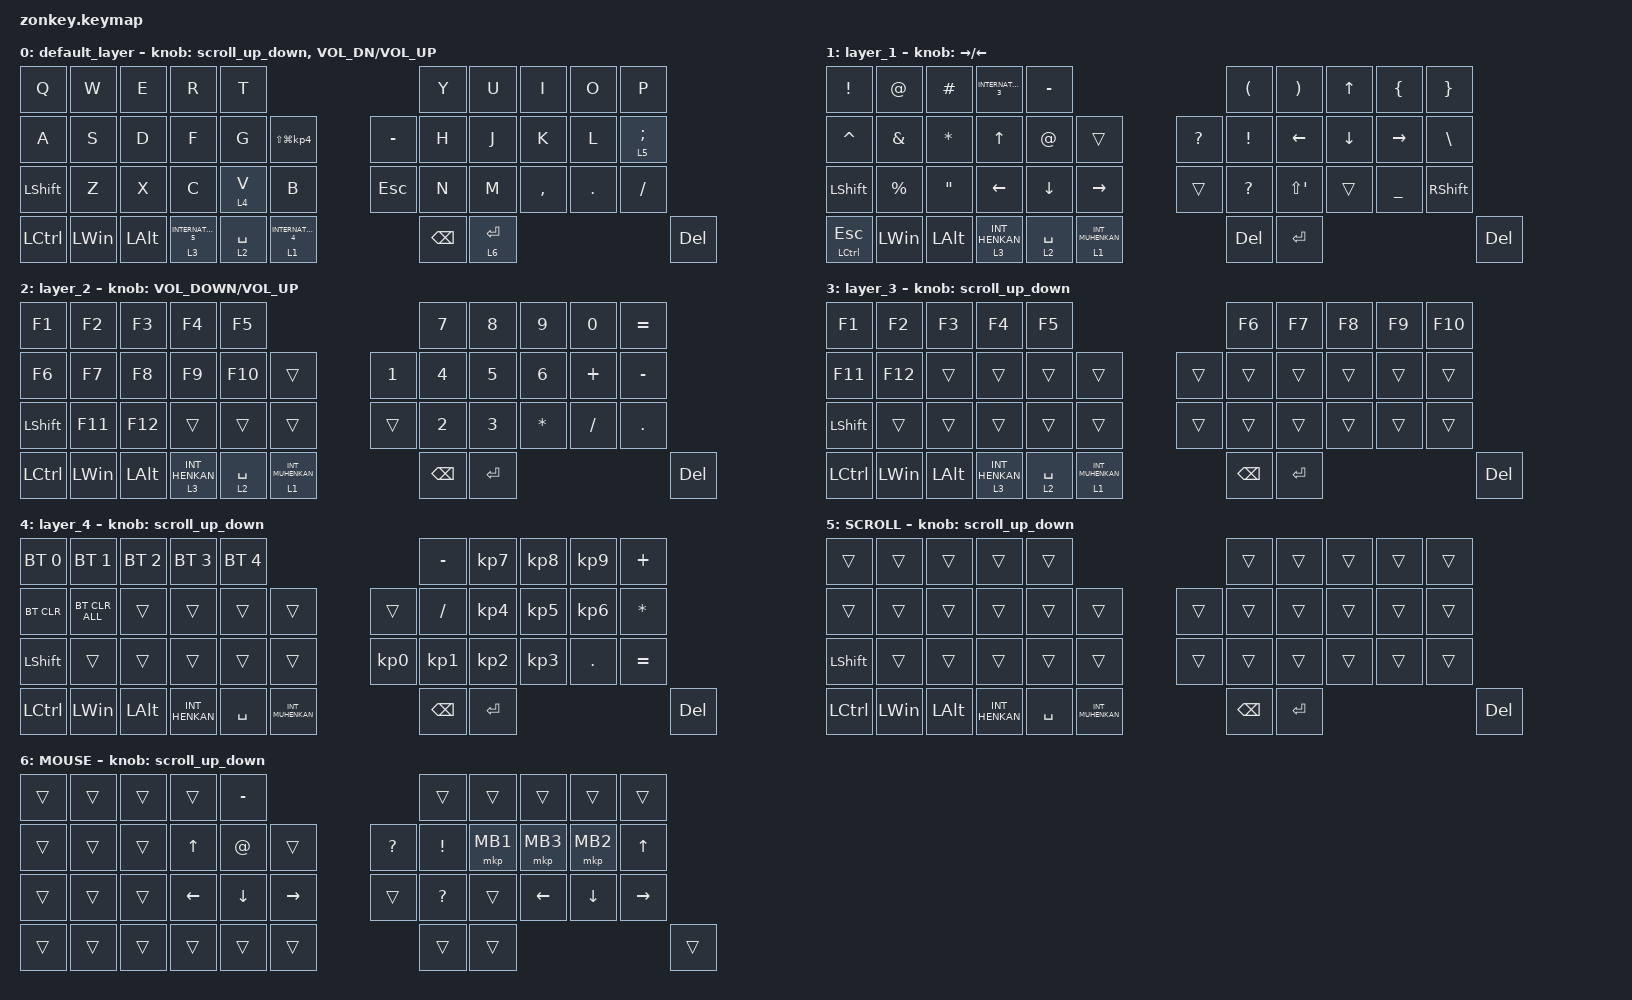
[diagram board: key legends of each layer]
#include <behaviors.dtsi>
#include <dt-bindings/zmk/bt.h>
#include <dt-bindings/zmk/keys.h>
#include <dt-bindings/zmk/pointing.h>

#define ZMK_POINTING_DEFAULT_SCRL_VAL 100
#define MOUSE 6
#define JP_DQUOTE       AT                // "

&mt {
    flavor = "balanced";
    quick-tap-ms = <0>;
};

/ {
    combos { compatible = "zmk,combos"; };

    macros {
        to_layer_0: to_layer_0 {
            compatible = "zmk,behavior-macro-one-param";
            #binding-cells = <1>;
            bindings = <&to 0 &macro_param_1to1 &kp MACRO_PLACEHOLDER>;
            label = "TO_LAYER_0";
        };
    };

    behaviors {
        lt_to_layer_0: lt_to_layer_0 {
            compatible = "zmk,behavior-hold-tap";
            label = "LAYER_TAP_TO_0";
            bindings = <&mo>, <&to_layer_0>;

            #binding-cells = <2>;
            tapping-term-ms = <200>;
        };

        scroll_up_down: behavior_sensor_rotate_mouse_wheel_up_down {
            compatible = "zmk,behavior-sensor-rotate";
            #sensor-binding-cells = <0>;
            bindings = <&msc SCRL_DOWN>, <&msc SCRL_UP>;

            tap-ms = <20>;
        };
    };

    keymap {
        compatible = "zmk,keymap";

        default_layer {
            // -----------------------------------------------------------------------------------------
            // |  Q  |  W  |  E  |  R  |  T  |                        |  Y  |  U   |  I  |  O  |  P  | 
            // |  A  |  S  |  D  |  F  |  G  |LS(LG(S))|        　 | - |  H  |  J   |  K  |  L  |  `  | 
            // |SHIFT|  Z  |  X  |  C  |  V  |  B  |           | ; |  N  |  M   |  ,  |  .  |  /  | 
            // | CTRL | WIN | ALT |HENKAN|SPACE|MUHENKAN|       | BS | ENT |      　　　　       | DEL |           

            bindings = <
&kp Q           &kp W         &kp E         &kp R                  &kp T                                               &kp Y          &kp U        &kp I      &kp O    &kp P
&kp A           &kp S         &kp D         &kp F                  &kp G        &kp LS(LG(KP_NUMBER_4))    &kp MINUS   &kp H          &kp J        &kp K      &kp L    &lt 5 SEMI
&kp LEFT_SHIFT  &kp Z         &kp X         &kp C                  &lt 4 V      &kp B                      &kp ESCAPE  &kp N          &kp M        &kp COMMA  &kp DOT  &kp SLASH
&kp LCTRL       &kp LEFT_WIN  &kp LEFT_ALT  &lt 3 INTERNATIONAL_5  &lt 2 SPACE  &lt 1 INTERNATIONAL_4                  &kp BACKSPACE  &lt 6 ENTER                                  &kp DEL
            >;

            sensor-bindings =
                <&scroll_up_down>,
                <&inc_dec_kp C_VOL_DN C_VOL_UP>;
        };

        layer_1 {
            // -----------------------------------------------------------------------------------------
            // | 半角/全角 |CAPS|     |     |     |                     |     |     |  -  |  ^  |  ¥  |
            // | TAB |     |     |     |     |     |              |    |     |     |     |  @  |  [  |
            // |SHIFT|     |     |     |     |     |            | 英数 | かな |     |     |     |  ]  |
            // | CTRL| WIN | ALT |HENKAN|SPACE|MUHENKAN|         | BS | ENT |                   | DEL |

            bindings = <
&kp EXCL        &kp AT         &kp HASH           &kp INTERNATIONAL_3  &kp MINUS                                           &kp LEFT_PARENTHESIS  &kp RIGHT_PARENTHESIS  &kp UP_ARROW    &kp LEFT_BRACE   &kp RIGHT_BRACE
&kp CARET       &kp AMPERSAND  &kp ASTRK          &kp UP_ARROW         &kp AT          &trans                &kp QUESTION  &kp EXCL              &kp LEFT_ARROW         &kp DOWN_ARROW  &kp RIGHT_ARROW  &kp BACKSLASH
&kp LEFT_SHIFT  &kp PERCENT    &kp DOUBLE_QUOTES  &kp LEFT_ARROW       &kp DOWN_ARROW  &kp RIGHT_ARROW       &trans        &kp QUESTION          &kp LS(SINGLE_QUOTE)   &trans          &kp UNDERSCORE   &kp RIGHT_SHIFT
&mt LCTL ESC    &kp LEFT_WIN   &kp LEFT_ALT       &lt 3 INT_HENKAN     &lt 2 SPACE     &lt 1 INT_MUHENKAN                  &kp DEL               &kp ENTER                                                                &kp DEL
            >;

            sensor-bindings = <&inc_dec_kp RIGHT_ARROW LEFT_ARROW>;
        };

        layer_2 {
            // -----------------------------------------------------------------------------------------
            // |  1  |  2  |  3  |  4  |  5  |                     |  6  |  7  |  8  |  9  |   0  |
            // |      |     |     |     |     |     |           |    |     |     |     |  ↑  |      |
            // |SHIFT|     |     |     |     |     |           |     |     |     |  ←  |  ↓  |  →  |
            // | CTRL| WIN | ALT |HENKAN|SPACE|MUHENKAN|         | BS | ENT |                   | DEL |

            bindings = <
&kp F1          &kp F2        &kp F3        &kp F4            &kp F5                                           &kp NUMBER_7   &kp NUMBER_8  &kp NUMBER_9  &kp NUMBER_0  &kp EQUAL
&kp F6          &kp F7        &kp F8        &kp F9            &kp F10      &trans                &kp NUMBER_1  &kp NUMBER_4   &kp NUMBER_5  &kp NUMBER_6  &kp PLUS      &kp MINUS
&kp LEFT_SHIFT  &kp F11       &kp F12       &trans            &trans       &trans                &trans        &kp NUMBER_2   &kp NUMBER_3  &kp ASTERISK  &kp SLASH     &kp PERIOD
&kp LCTRL       &kp LEFT_WIN  &kp LEFT_ALT  &lt 3 INT_HENKAN  &lt 2 SPACE  &lt 1 INT_MUHENKAN                  &kp BACKSPACE  &kp ENTER                                             &kp DEL
            >;

            sensor-bindings = <&inc_dec_kp C_VOLUME_DOWN C_VOLUME_UP>;
        };

        layer_3 {
            // -----------------------------------------------------------------------------------------
            // | F1  | F2  | F3  | F4  | F5  |                     | F6  | F7 | F8  | F9 | F10 |
            // | F11 | F12 |     |     |     |     |           |    |     |     |     |     |      |
            // |SHIFT|     |     |     |     |     |           |     |     |     |     |     |      |
            // | CTRL| WIN | ALT |HENKAN|SPACE|MUHENKAN|         | BS | ENT |                   | DEL |

            bindings = <
&kp F1          &kp F2        &kp F3        &kp F4            &kp F5                                     &kp F6         &kp F7     &kp F8  &kp F9  &kp F10
&kp F11         &kp F12       &trans        &trans            &trans       &trans                &trans  &trans         &trans     &trans  &trans  &trans
&kp LEFT_SHIFT  &trans        &trans        &trans            &trans       &trans                &trans  &trans         &trans     &trans  &trans  &trans
&kp LCTRL       &kp LEFT_WIN  &kp LEFT_ALT  &lt 3 INT_HENKAN  &lt 2 SPACE  &lt 1 INT_MUHENKAN            &kp BACKSPACE  &kp ENTER                           &kp DEL
            >;

            sensor-bindings = <&scroll_up_down>;
        };

        layer_4 {
            // -----------------------------------------------------------------------------------------
            // | BT0 | BT1 | BT2 | BT3 | BT4 |                |  -  |  7  |  8  |  9  |  +  |
            // |BTCLR |     |     |     |     |     |           |  /  |  4  |  5  |  6  |  *  | 
            // |SHIFT|     |     |     |     |     |           |  0  |  1  |  2  |   3 |  .  |  =  |
            // | CTRL| WIN | ALT |HENKAN|SPACE|MUHENKAN|        | BS | ENT |                  | DEL |

            bindings = <
&bt BT_SEL 0    &bt BT_SEL 1    &bt BT_SEL 2  &bt BT_SEL 3    &bt BT_SEL 4                                       &kp MINUS        &kp KP_NUMBER_7  &kp KP_NUMBER_8  &kp KP_NUMBER_9  &kp PLUS
&bt BT_CLR      &bt BT_CLR_ALL  &trans        &trans          &trans        &trans              &trans           &kp SLASH        &kp KP_NUMBER_4  &kp KP_NUMBER_5  &kp KP_NUMBER_6  &kp ASTERISK
&kp LEFT_SHIFT  &trans          &trans        &trans          &trans        &trans              &kp KP_NUMBER_0  &kp KP_NUMBER_1  &kp KP_NUMBER_2  &kp KP_NUMBER_3  &kp PERIOD       &kp EQUAL
&kp LCTRL       &kp LEFT_WIN    &kp LEFT_ALT  &kp INT_HENKAN  &kp SPACE     &kp INT_MUHENKAN                     &kp BACKSPACE    &kp ENTER                                                        &kp DEL
            >;

            sensor-bindings = <&scroll_up_down>;
        };

        SCROLL {
            // -----------------------------------------------------------------------------------------
            // |      |     |     |     |     |                     |     |     |     |     |      |
            // |      |     |     |     |     |     |           |    |     |     |     |     |      |
            // |SHIFT|     |     |     |     |     |          |     |     |     |     |     |      |
            // | CTRL| WIN | ALT |HENKAN|SPACE|MUHENKAN|        | BS | ENT |                  | DEL |

            bindings = <
&trans          &trans        &trans        &trans          &trans                                 &trans         &trans     &trans  &trans  &trans
&trans          &trans        &trans        &trans          &trans     &trans              &trans  &trans         &trans     &trans  &trans  &trans
&kp LEFT_SHIFT  &trans        &trans        &trans          &trans     &trans              &trans  &trans         &trans     &trans  &trans  &trans
&kp LCTRL       &kp LEFT_WIN  &kp LEFT_ALT  &kp INT_HENKAN  &kp SPACE  &kp INT_MUHENKAN            &kp BACKSPACE  &kp ENTER                          &kp DEL
            >;

            sensor-bindings = <&scroll_up_down>;
        };

        MOUSE {
            bindings = <
&trans  &trans  &trans  &trans          &kp MINUS                                        &trans        &trans    &trans          &trans          &trans
&trans  &trans  &trans  &kp UP_ARROW    &kp AT          &trans             &kp QUESTION  &kp EXCL      &mkp MB1  &mkp MB3        &mkp MB2        &kp UP_ARROW
&trans  &trans  &trans  &kp LEFT_ARROW  &kp DOWN_ARROW  &kp RIGHT_ARROW    &trans        &kp QUESTION  &trans    &kp LEFT_ARROW  &kp DOWN_ARROW  &kp RIGHT_ARROW
&trans  &trans  &trans  &trans          &trans          &trans                           &trans        &trans                                                     &trans
            >;

            sensor-bindings = <&scroll_up_down>;
        };
    };
};
